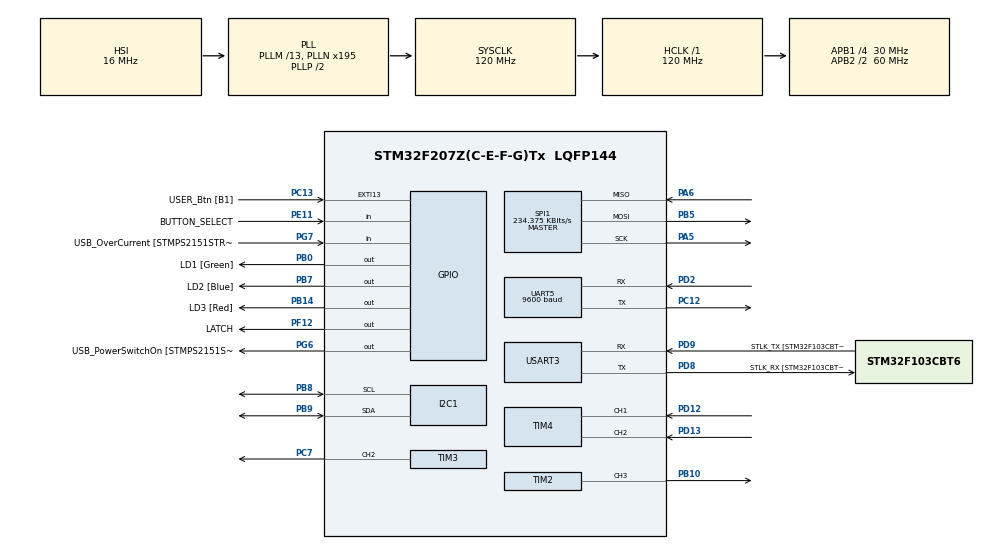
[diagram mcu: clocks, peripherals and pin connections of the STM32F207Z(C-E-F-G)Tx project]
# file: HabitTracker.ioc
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PH0-OSC_IN.Signal=RCC_OSC_IN
SPI1.VirtualType=VM_MASTER
PC12.Signal=UART5_TX
PB14.GPIO_Label=LD3 [Red]
PG6.GPIO_Label=USB_PowerSwitchOn [STMPS2151STR_EN]
PA14.GPIO_Label=TCK
Dma.TIM3_CH2.0.PeriphInc=DMA_PINC_DISABLE
VP_RTC_VS_RTC_Activate.Mode=RTC_Enabled
Dma.TIM3_CH2.0.Instance=DMA1_Stream5
PB13.Signal=ETH_TXD1
PG13.Signal=ETH_TXD0
RCC.SYSCLKSource=RCC_SYSCLKSOURCE_PLLCLK
RTC.SynchPrediv=255
TIM2.Pulse-PWM\ Generation3\ CH3=5
SPI1.Direction=SPI_DIRECTION_2LINES
RCC.APB2TimFreq_Value=120000000
PC7.Signal=S_TIM3_CH2
SPI1.CalculateBaudRate=234.375 KBits/s
PD8.Signal=USART3_TX
PF12.GPIO_Label=LATCH
PC4.GPIO_Label=RMII_RXD0 [LAN8742A-CZ-TR_RXD0]
SH.S_TIM4_CH2.0=TIM4_CH2,Encoder_Interface
PA8.Signal=USB_OTG_FS_SOF
Mcu.Package=LQFP144
PB9.Signal=I2C1_SDA
NVIC.TimeBase=TIM1_UP_TIM10_IRQn
PD12.Signal=S_TIM4_CH1
NVIC.TimeBaseIP=TIM1
PA10.Signal=USB_OTG_FS_ID
VP_RTC_VS_RTC_Calendar.Mode=RTC_Calendar
RCC.APB2CLKDivider=RCC_HCLK_DIV2
SH.S_TIM4_CH1.0=TIM4_CH1,Encoder_Interface
RCC.APB1TimFreq_Value=60000000
UART5.BaudRate=9600
PA5.Mode=Full_Duplex_Master
FREERTOS.Tasks01=defaultTask,24,128,StartDefaultTask,Default,NULL,Static,defaultTaskBuffer,defaultTaskControlBlock
Dma.TIM3_CH2.0.Mode=DMA_NORMAL
PD9.GPIO_Label=STLK_TX [STM32F103CBT6_PA2]
PA9.GPIO_Label=USB_VBUS
PC13.Signal=GPXTI13
PA11.GPIO_Label=USB_DM
UART5.VirtualMode=Asynchronous
RCC.APB1CLKDivider=RCC_HCLK_DIV4
PC14-OSC32_IN.Signal=RCC_OSC32_IN
PG13.GPIO_Label=RMII_TXD0 [LAN8742A-CZ-TR_TXD0]
Dma.TIM3_CH2.0.Direction=DMA_MEMORY_TO_PERIPH
PA8.GPIO_Label=USB_SOF [TP1]
I2C1.I2C_Mode=I2C_Fast
PA9.Signal=USB_OTG_FS_VBUS
PD8.Mode=Asynchronous
PB10.Signal=S_TIM2_CH3
PB14.Signal=GPIO_Output
PA5.Signal=SPI1_SCK
PC12.Mode=Asynchronous
RTC.AlarmMaskDateWeekDay_A-Alarm\ A=RTC_ALARMMASK_DATEWEEKDAY
RCC.PRESCALERUSB=RCC_USBCLKSOURCE_PLL_DIV1_5
SPI1.Mode=SPI_MODE_MASTER
PG7.GPIO_Label=USB_OverCurrent [STMPS2151STR_FAULT]
PA1.GPIO_Label=RMII_REF_CLK [LAN8742A-CZ-TR_REFCLK0]
RCC.RCC_RTC_Clock_SourceVirtual=RCC_RTCCLKSOURCE_LSE
TIM2.Period=10
PA13.Mode=Serial_Wire
NVIC.RTC_Alarm_IRQn=true\:5\:0\:false\:false\:true\:true\:true\:true
Dma.TIM3_CH2.0.FIFOMode=DMA_FIFOMODE_DISABLE
PB5.Signal=SPI1_MOSI
PA11.Signal=USB_OTG_FS_DM
RTC.HourFormat=RTC_HOURFORMAT_12
ProjectManager.HeapSize=0x200
NVIC.TIM1_UP_TIM10_IRQn=true\:0\:0\:false\:false\:true\:false\:false\:true
NVIC.PriorityGroup=NVIC_PRIORITYGROUP_4
TIM3.Channel-PWM\ Generation2\ CH2=TIM_CHANNEL_2
PB8.Mode=I2C
PD2.Signal=UART5_RX
PB0.Signal=GPIO_Output
PC1.Signal=ETH_MDC
Mcu.Family=STM32F2
NVIC.USART3_IRQn=true\:5\:0\:false\:false\:true\:true\:true\:true
PA6.Mode=Full_Duplex_Master
RCC.CortexFreq_Value=120000000
PG6.Signal=GPIO_Output
PE11.GPIO_Label=BUTTON_SELECT
RCC.SYSCLKSourceVirtual=RCC_SYSCLKSOURCE_PLLCLK
PB0.GPIO_Label=LD1 [Green]
PC13.GPIO_Label=USER_Btn [B1]
PB13.GPIO_Label=RMII_TXD1 [LAN8742A-CZ-TR_TXD1]
PD9.Mode=Asynchronous
PG11.Signal=ETH_TX_EN
VP_RTC_VS_RTC_Alarm_A_Intern.Mode=Alarm A
ProjectManager.StackSize=0x400
VP_FREERTOS_VS_CMSIS_V2.Mode=CMSIS_V2
NVIC.UART5_IRQn=true\:5\:0\:false\:false\:true\:true\:true\:true
PD13.Signal=S_TIM4_CH2
PA12.Signal=USB_OTG_FS_DP
RCC.RCC_RTC_Clock_Source=RCC_RTCCLKSOURCE_LSE
RCC.HCLKFreq_Value=120000000
TIM3.Period=75
PF12.Signal=GPIO_Output
RCC.AHBFreq_Value=120000000
PH0-OSC_IN.Mode=HSE-External-Clock-Source
PH0-OSC_IN.GPIO_Label=MCO [STM32F103CBT6_PA8]
RCC.HSE_VALUE=8000000
RCC.PLLMUL=RCC_PLL_MUL9
PC14-OSC32_IN.Mode=LSE-External-Oscillator
PA14.Mode=Serial_Wire
VP_SYS_VS_tim1.Mode=TIM1
PB5.Mode=Full_Duplex_Master
PA10.GPIO_Label=USB_ID
PB7.Signal=GPIO_Output
RTC.Hours_A-Alarm\ A=12
PB7.GPIO_Label=LD2 [Blue]
PH1-OSC_OUT.Mode=HSE-External-Clock-Source
PA6.Signal=SPI1_MISO
PA2.GPIO_Label=RMII_MDIO [LAN8742A-CZ-TR_MDIO]
Dma.TIM3_CH2.0.MemDataAlignment=DMA_MDATAALIGN_HALFWORD
PG11.GPIO_Label=RMII_TX_EN [LAN8742A-CZ-TR_TXEN]
PC5.Signal=ETH_RXD1
Dma.Request0=TIM3_CH2
SPI1.BaudRatePrescaler=SPI_BAUDRATEPRESCALER_256
VP_TIM3_VS_ClockSourceINT.Mode=Internal
PB3.GPIO_Label=SWO
PC15-OSC32_OUT.Mode=LSE-External-Oscillator
PG7.Signal=GPIO_Input
PC4.Signal=ETH_RXD0
PD9.Signal=USART3_RX
PA12.GPIO_Label=USB_DP
PD8.GPIO_Label=STLK_RX [STM32F103CBT6_PA3]
PA13.Signal=SYS_JTMS-SWDIO
RTC.Alarm_A-Alarm\ A=RTC_ALARM_A
ProjectManager.TargetToolchain=STM32CubeIDE
NVIC.DMA1_Stream5_IRQn=true\:5\:0\:false\:false\:true\:true\:false\:true
Dma.TIM3_CH2.0.PeriphDataAlignment=DMA_PDATAALIGN_HALFWORD
PB9.Mode=I2C
RCC.USBFreq_Value=48000000
PE11.Signal=GPIO_Input
PC15-OSC32_OUT.Signal=RCC_OSC32_OUT
PA1.Signal=ETH_REF_CLK
PD2.Mode=Asynchronous
SH.S_TIM3_CH2.0=TIM3_CH2,PWM Generation2 CH2
board=NUCLEO-F207ZG
RCC.VCOOutputFreq_Value=240000000
RCC.APB2Freq_Value=60000000
Dma.TIM3_CH2.0.Priority=DMA_PRIORITY_LOW
Dma.TIM3_CH2.0.MemInc=DMA_MINC_ENABLE
VP_TIM2_VS_ClockSourceINT.Mode=Internal
SH.S_TIM2_CH3.0=TIM2_CH3,PWM Generation3 CH3
PC1.GPIO_Label=RMII_MDC [LAN8742A-CZ-TR_MDC]
TIM2.Channel-PWM\ Generation3\ CH3=TIM_CHANNEL_3
PH1-OSC_OUT.Signal=RCC_OSC_OUT
Mcu.Name=STM32F207Z(C-E-F-G)Tx
PA2.Signal=ETH_MDIO
PA13.GPIO_Label=TMS
RTC.Minutes_A-Alarm\ A=0
RCC.48MHZClocksFreq_Value=48000000
PB3.Signal=SYS_JTDO-SWO
RCC.SYSCLKFreq_VALUE=120000000
PA7.GPIO_Label=RMII_CRS_DV [LAN8742A-CZ-TR_CRS_DV]
PC5.GPIO_Label=RMII_RXD1 [LAN8742A-CZ-TR_RXD1]
USART3.VirtualMode=VM_ASYNC
PA14.Signal=SYS_JTCK-SWCLK
RCC.HSI_VALUE=16000000
RCC.PLLQ=5
RCC.PLLM=13
RCC.PLLN=195
PB8.Signal=I2C1_SCL
RCC.APB1Freq_Value=30000000
PA7.Signal=ETH_CRS_DV

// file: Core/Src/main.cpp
/* USER CODE BEGIN Header */
/**
  ******************************************************************************
  * @file           : main.c
  * @brief          : Main program body
  ******************************************************************************
  * @attention
  *
  * <h2><center>&copy; Copyright (c) 2021 STMicroelectronics.
  * All rights reserved.</center></h2>
  *
  * This software component is licensed by ST under BSD 3-Clause license,
  * the "License"; You may not use this file except in compliance with the
  * License. You may obtain a copy of the License at:
  *                        opensource.org/licenses/BSD-3-Clause
  *
  ******************************************************************************
  */
/* USER CODE END Header */
#include "main.h"
#include "cmsis_os.h"

/* USER CODE BEGIN Includes */
#include "Display.h"
#include "GraphicsEngine.h"
#include "Logger.h"
#include "LoggerTask.h"
#include "RealTimeClock.h"
#include "HabitManager.h"
#include "RotaryEncoder.h"
#include "StatusLED.h"
#include "Button.h"
#include "IOStreamUART.h"
#include "CommandParser.h"
#include "BasicTimer.h"
#include "DisplayController.h"
#include "WS2812Display.h"
#include "LEDTLC5955.h"
/* USER CODE END Includes */

typedef StaticTask_t osStaticThreadDef_t;
/* USER CODE BEGIN PTD */
typedef StaticQueue_t osStaticMessageQDef_t;
typedef StaticTask_t osStaticThreadDef_t;
typedef StaticEventGroup_t osStaticEventGroupDef_t;
/* USER CODE END PTD */

/* USER CODE BEGIN PD */
uint8_t tx_data[] = "AT+UART?\r\n";
uint8_t rx_data[32] = {0};
/* USER CODE END PD */

I2C_HandleTypeDef hi2c1;

RTC_HandleTypeDef hrtc;

SPI_HandleTypeDef hspi1;

TIM_HandleTypeDef htim2;
TIM_HandleTypeDef htim3;
TIM_HandleTypeDef htim4;
DMA_HandleTypeDef hdma_tim3_ch2;

UART_HandleTypeDef huart5;
UART_HandleTypeDef huart3;

/* Definitions for defaultTask */
osThreadId_t defaultTaskHandle;
uint32_t defaultTaskBuffer[ 128 ];
osStaticThreadDef_t defaultTaskControlBlock;
const osThreadAttr_t defaultTask_attributes = {
  .name = "defaultTask",
  .cb_mem = &defaultTaskControlBlock,
  .cb_size = sizeof(defaultTaskControlBlock),
  .stack_mem = &defaultTaskBuffer[0],
  .stack_size = sizeof(defaultTaskBuffer),
  .priority = (osPriority_t) osPriorityNormal,
};
/* USER CODE BEGIN PV */

// Threads
uint64_t loggerTaskBuffer[ 512 ];  // 64 bit to ensure 8 byte alignment
osStaticThreadDef_t loggerTaskControlBlock;
osThreadId_t logger_taskHandle;;
osThreadAttr_t loggerTaskAttributes;

uint64_t guiControllerTaskBuffer[ 4096 ];  // 64 bit to ensure 8 byte alignment
osStaticThreadDef_t guiControllerControlBlock;
osThreadId_t gui_controllerHandle;;
osThreadAttr_t gui_controllerAttributes;

// Logger Queue Configuration
static const uint32_t g_logger_queueSize = 3;
static const uint32_t g_logger_queueItemSize = Logger::BufferItemSize;
osMessageQueueId_t g_logger_queueHandle;
uint8_t g_logger_queueBuffer[g_logger_queueItemSize * g_logger_queueSize];
osStaticMessageQDef_t g_logger_queueControlBlock;
osMessageQueueAttr_t g_logger_queue_attributes;

// Events

// Shared resources
RealTimeClock rtc{&hrtc};

volatile bool resetHabitEvent = false;
/* USER CODE END PV */

void SystemClock_Config(void);
static void MX_GPIO_Init(void);
static void MX_DMA_Init(void);
static void MX_USART3_UART_Init(void);
static void MX_I2C1_Init(void);
static void MX_RTC_Init(void);
static void MX_TIM4_Init(void);
static void MX_TIM3_Init(void);
static void MX_UART5_Init(void);
static void MX_SPI1_Init(void);
static void MX_TIM2_Init(void);
void StartDefaultTask(void *argument);

/* USER CODE BEGIN PFP */
void LoggerTaskThread(void *argument);
void GUIControllerTaskThread(void *argument);
/* USER CODE END PFP */

/* USER CODE BEGIN 0 */
void HAL_RTC_AlarmAEventCallback (RTC_HandleTypeDef * hrtc)
{
	resetHabitEvent = true; // Work Around: Calling osEventFlagsSet() fails when called inside this ISR
}

/* USER CODE END 0 */

int main(void)
{

  /* MCU Configuration--------------------------------------------------------*/

  /* Reset of all peripherals, Initializes the Flash interface and the Systick. */
  HAL_Init();

  /* Configure the system clock */
  SystemClock_Config();

  /* Initialize all configured peripherals */
  MX_GPIO_Init();
  MX_DMA_Init();
  MX_USART3_UART_Init();
  MX_I2C1_Init();
  MX_RTC_Init();
  MX_TIM4_Init();
  MX_TIM3_Init();
  MX_UART5_Init();
  MX_SPI1_Init();
  MX_TIM2_Init();
  /* USER CODE BEGIN 2 */

  //Initialize HAL
  HAL_TIM_Encoder_Start(&htim4, TIM_CHANNEL_ALL);

	LEDTLC5955 tlc{};
	tlc.SetMaxCurrent(7, 7, 7);
	tlc.SetGlobalBrightness(4, 40, 127);
	TLC5955_function_t function;
	function.display_timing_reset_enable = true;
	tlc.SetFunction(function);
	Color_t color{60000, 60000, 60000};
	tlc.SetLed(4, color);
	tlc.UpdateControlSettings();
	tlc.UpdateLED();

  /* USER CODE END 2 */

  /* Init scheduler */
  osKernelInitialize();

  /* USER CODE BEGIN RTOS_QUEUES */
  g_logger_queue_attributes.name = "g_logger_queue";
  g_logger_queue_attributes.cb_mem = &g_logger_queueControlBlock;
  g_logger_queue_attributes.cb_size = sizeof(g_logger_queueControlBlock);
  g_logger_queue_attributes.mq_mem = &g_logger_queueBuffer;
  g_logger_queue_attributes.mq_size = sizeof(g_logger_queueBuffer);
  g_logger_queueHandle = osMessageQueueNew (g_logger_queueSize, g_logger_queueItemSize, &g_logger_queue_attributes);
  if (g_logger_queueHandle == NULL)
  {
	  StatusLED::SetErrorEvent();
  }

  /* USER CODE END RTOS_QUEUES */

  /* Create the thread(s) */
  /* creation of defaultTask */
  defaultTaskHandle = osThreadNew(StartDefaultTask, NULL, &defaultTask_attributes);

  /* USER CODE BEGIN RTOS_THREADS */
  loggerTaskAttributes.name = "LoggerTask";
  loggerTaskAttributes.cb_mem = &loggerTaskControlBlock;
  loggerTaskAttributes.cb_size = sizeof(loggerTaskControlBlock);
  loggerTaskAttributes.stack_mem = &loggerTaskBuffer[0];
  loggerTaskAttributes.stack_size = sizeof(loggerTaskBuffer);
  loggerTaskAttributes.priority = (osPriority_t) osPriorityNormal;
  logger_taskHandle = osThreadNew(LoggerTaskThread, NULL, &loggerTaskAttributes);
  if (g_logger_queueHandle == NULL)
  {
	  StatusLED::SetErrorEvent();
  }

  gui_controllerAttributes.name = "GUIControllerTask";
  gui_controllerAttributes.cb_mem = &guiControllerControlBlock;
  gui_controllerAttributes.cb_size = sizeof(guiControllerControlBlock);
  gui_controllerAttributes.stack_mem = &guiControllerTaskBuffer[0];
  gui_controllerAttributes.stack_size = sizeof(guiControllerTaskBuffer);
  gui_controllerAttributes.priority = (osPriority_t) osPriorityNormal;
  gui_controllerHandle = osThreadNew(GUIControllerTaskThread, NULL, &gui_controllerAttributes);
  if (gui_controllerHandle == NULL)
  {
	  StatusLED::SetErrorEvent();
  }

  /* USER CODE END RTOS_THREADS */

  /* USER CODE BEGIN RTOS_EVENTS */
  // Testing

  /* USER CODE END RTOS_EVENTS */

  /* Start scheduler */
  osKernelStart();

  /* We should never get here as control is now taken by the scheduler */
  /* Infinite loop */
  while (1)
  {

  }
}

void SystemClock_Config(void)
{
  RCC_OscInitTypeDef RCC_OscInitStruct = {0};
  RCC_ClkInitTypeDef RCC_ClkInitStruct = {0};
  RCC_PeriphCLKInitTypeDef PeriphClkInitStruct = {0};

  /** Initializes the RCC Oscillators according to the specified parameters
  * in the RCC_OscInitTypeDef structure.
  */
  RCC_OscInitStruct.OscillatorType = RCC_OSCILLATORTYPE_HSI|RCC_OSCILLATORTYPE_LSE;
  RCC_OscInitStruct.LSEState = RCC_LSE_ON;
  RCC_OscInitStruct.HSIState = RCC_HSI_ON;
  RCC_OscInitStruct.HSICalibrationValue = RCC_HSICALIBRATION_DEFAULT;
  RCC_OscInitStruct.PLL.PLLState = RCC_PLL_ON;
  RCC_OscInitStruct.PLL.PLLSource = RCC_PLLSOURCE_HSI;
  RCC_OscInitStruct.PLL.PLLM = 13;
  RCC_OscInitStruct.PLL.PLLN = 195;
  RCC_OscInitStruct.PLL.PLLP = RCC_PLLP_DIV2;
  RCC_OscInitStruct.PLL.PLLQ = 5;
  if (HAL_RCC_OscConfig(&RCC_OscInitStruct) != HAL_OK)
  {
    Error_Handler();
  }
  /** Initializes the CPU, AHB and APB buses clocks
  */
  RCC_ClkInitStruct.ClockType = RCC_CLOCKTYPE_HCLK|RCC_CLOCKTYPE_SYSCLK
                              |RCC_CLOCKTYPE_PCLK1|RCC_CLOCKTYPE_PCLK2;
  RCC_ClkInitStruct.SYSCLKSource = RCC_SYSCLKSOURCE_PLLCLK;
  RCC_ClkInitStruct.AHBCLKDivider = RCC_SYSCLK_DIV1;
  RCC_ClkInitStruct.APB1CLKDivider = RCC_HCLK_DIV4;
  RCC_ClkInitStruct.APB2CLKDivider = RCC_HCLK_DIV2;

  if (HAL_RCC_ClockConfig(&RCC_ClkInitStruct, FLASH_LATENCY_3) != HAL_OK)
  {
    Error_Handler();
  }
  PeriphClkInitStruct.PeriphClockSelection = RCC_PERIPHCLK_RTC;
  PeriphClkInitStruct.RTCClockSelection = RCC_RTCCLKSOURCE_LSE;
  if (HAL_RCCEx_PeriphCLKConfig(&PeriphClkInitStruct) != HAL_OK)
  {
    Error_Handler();
  }
}

static void MX_I2C1_Init(void)
{

  hi2c1.Instance = I2C1;
  hi2c1.Init.ClockSpeed = 400000;
  hi2c1.Init.DutyCycle = I2C_DUTYCYCLE_2;
  hi2c1.Init.OwnAddress1 = 0;
  hi2c1.Init.AddressingMode = I2C_ADDRESSINGMODE_7BIT;
  hi2c1.Init.DualAddressMode = I2C_DUALADDRESS_DISABLE;
  hi2c1.Init.OwnAddress2 = 0;
  hi2c1.Init.GeneralCallMode = I2C_GENERALCALL_DISABLE;
  hi2c1.Init.NoStretchMode = I2C_NOSTRETCH_DISABLE;
  if (HAL_I2C_Init(&hi2c1) != HAL_OK)
  {
    Error_Handler();
  }

}

static void MX_RTC_Init(void)
{

  RTC_TimeTypeDef sTime = {0};
  RTC_DateTypeDef sDate = {0};
  RTC_AlarmTypeDef sAlarm = {0};

  /** Initialize RTC Only
  */
  hrtc.Instance = RTC;
  hrtc.Init.HourFormat = RTC_HOURFORMAT_12;
  hrtc.Init.AsynchPrediv = 127;
  hrtc.Init.SynchPrediv = 255;
  hrtc.Init.OutPut = RTC_OUTPUT_DISABLE;
  hrtc.Init.OutPutPolarity = RTC_OUTPUT_POLARITY_HIGH;
  hrtc.Init.OutPutType = RTC_OUTPUT_TYPE_OPENDRAIN;
  if (HAL_RTC_Init(&hrtc) != HAL_OK)
  {
    Error_Handler();
  }

  /** Initialize RTC and set the Time and Date
  */
  sTime.Hours = 0x1;
  sTime.Minutes = 0x0;
  sTime.Seconds = 0x0;
  sTime.TimeFormat = RTC_HOURFORMAT12_AM;
  sTime.DayLightSaving = RTC_DAYLIGHTSAVING_NONE;
  sTime.StoreOperation = RTC_STOREOPERATION_RESET;
  if (HAL_RTC_SetTime(&hrtc, &sTime, RTC_FORMAT_BCD) != HAL_OK)
  {
    Error_Handler();
  }
  sDate.WeekDay = RTC_WEEKDAY_MONDAY;
  sDate.Month = RTC_MONTH_JANUARY;
  sDate.Date = 0x1;
  sDate.Year = 0x0;

  if (HAL_RTC_SetDate(&hrtc, &sDate, RTC_FORMAT_BCD) != HAL_OK)
  {
    Error_Handler();
  }
  /** Enable the Alarm A
  */
  sAlarm.AlarmTime.Hours = 0x12;
  sAlarm.AlarmTime.Minutes = 0x0;
  sAlarm.AlarmTime.Seconds = 0x0;
  sAlarm.AlarmTime.TimeFormat = RTC_HOURFORMAT12_AM;
  sAlarm.AlarmTime.DayLightSaving = RTC_DAYLIGHTSAVING_NONE;
  sAlarm.AlarmTime.StoreOperation = RTC_STOREOPERATION_RESET;
  sAlarm.AlarmMask = RTC_ALARMMASK_DATEWEEKDAY;
  sAlarm.AlarmDateWeekDaySel = RTC_ALARMDATEWEEKDAYSEL_DATE;
  sAlarm.AlarmDateWeekDay = 0x1;
  sAlarm.Alarm = RTC_ALARM_A;
  if (HAL_RTC_SetAlarm_IT(&hrtc, &sAlarm, RTC_FORMAT_BCD) != HAL_OK)
  {
    Error_Handler();
  }

}

static void MX_SPI1_Init(void)
{

  /* SPI1 parameter configuration*/
  hspi1.Instance = SPI1;
  hspi1.Init.Mode = SPI_MODE_MASTER;
  hspi1.Init.Direction = SPI_DIRECTION_2LINES;
  hspi1.Init.DataSize = SPI_DATASIZE_8BIT;
  hspi1.Init.CLKPolarity = SPI_POLARITY_LOW;
  hspi1.Init.CLKPhase = SPI_PHASE_1EDGE;
  hspi1.Init.NSS = SPI_NSS_SOFT;
  hspi1.Init.BaudRatePrescaler = SPI_BAUDRATEPRESCALER_256;
  hspi1.Init.FirstBit = SPI_FIRSTBIT_MSB;
  hspi1.Init.TIMode = SPI_TIMODE_DISABLE;
  hspi1.Init.CRCCalculation = SPI_CRCCALCULATION_DISABLE;
  hspi1.Init.CRCPolynomial = 10;
  if (HAL_SPI_Init(&hspi1) != HAL_OK)
  {
    Error_Handler();
  }

}

static void MX_TIM2_Init(void)
{

  TIM_ClockConfigTypeDef sClockSourceConfig = {0};
  TIM_MasterConfigTypeDef sMasterConfig = {0};
  TIM_OC_InitTypeDef sConfigOC = {0};

  htim2.Instance = TIM2;
  htim2.Init.Prescaler = 0;
  htim2.Init.CounterMode = TIM_COUNTERMODE_UP;
  htim2.Init.Period = 10;
  htim2.Init.ClockDivision = TIM_CLOCKDIVISION_DIV1;
  htim2.Init.AutoReloadPreload = TIM_AUTORELOAD_PRELOAD_DISABLE;
  if (HAL_TIM_Base_Init(&htim2) != HAL_OK)
  {
    Error_Handler();
  }
  sClockSourceConfig.ClockSource = TIM_CLOCKSOURCE_INTERNAL;
  if (HAL_TIM_ConfigClockSource(&htim2, &sClockSourceConfig) != HAL_OK)
  {
    Error_Handler();
  }
  if (HAL_TIM_PWM_Init(&htim2) != HAL_OK)
  {
    Error_Handler();
  }
  sMasterConfig.MasterOutputTrigger = TIM_TRGO_RESET;
  sMasterConfig.MasterSlaveMode = TIM_MASTERSLAVEMODE_DISABLE;
  if (HAL_TIMEx_MasterConfigSynchronization(&htim2, &sMasterConfig) != HAL_OK)
  {
    Error_Handler();
  }
  sConfigOC.OCMode = TIM_OCMODE_PWM1;
  sConfigOC.Pulse = 5;
  sConfigOC.OCPolarity = TIM_OCPOLARITY_HIGH;
  sConfigOC.OCFastMode = TIM_OCFAST_DISABLE;
  if (HAL_TIM_PWM_ConfigChannel(&htim2, &sConfigOC, TIM_CHANNEL_3) != HAL_OK)
  {
    Error_Handler();
  }
  HAL_TIM_MspPostInit(&htim2);

}

static void MX_TIM3_Init(void)
{

  TIM_ClockConfigTypeDef sClockSourceConfig = {0};
  TIM_MasterConfigTypeDef sMasterConfig = {0};
  TIM_OC_InitTypeDef sConfigOC = {0};

  htim3.Instance = TIM3;
  htim3.Init.Prescaler = 0;
  htim3.Init.CounterMode = TIM_COUNTERMODE_UP;
  htim3.Init.Period = 75;
  htim3.Init.ClockDivision = TIM_CLOCKDIVISION_DIV1;
  htim3.Init.AutoReloadPreload = TIM_AUTORELOAD_PRELOAD_DISABLE;
  if (HAL_TIM_Base_Init(&htim3) != HAL_OK)
  {
    Error_Handler();
  }
  sClockSourceConfig.ClockSource = TIM_CLOCKSOURCE_INTERNAL;
  if (HAL_TIM_ConfigClockSource(&htim3, &sClockSourceConfig) != HAL_OK)
  {
    Error_Handler();
  }
  if (HAL_TIM_PWM_Init(&htim3) != HAL_OK)
  {
    Error_Handler();
  }
  sMasterConfig.MasterOutputTrigger = TIM_TRGO_RESET;
  sMasterConfig.MasterSlaveMode = TIM_MASTERSLAVEMODE_DISABLE;
  if (HAL_TIMEx_MasterConfigSynchronization(&htim3, &sMasterConfig) != HAL_OK)
  {
    Error_Handler();
  }
  sConfigOC.OCMode = TIM_OCMODE_PWM1;
  sConfigOC.Pulse = 0;
  sConfigOC.OCPolarity = TIM_OCPOLARITY_HIGH;
  sConfigOC.OCFastMode = TIM_OCFAST_DISABLE;
  if (HAL_TIM_PWM_ConfigChannel(&htim3, &sConfigOC, TIM_CHANNEL_2) != HAL_OK)
  {
    Error_Handler();
  }
  HAL_TIM_MspPostInit(&htim3);

}

static void MX_TIM4_Init(void)
{

  TIM_Encoder_InitTypeDef sConfig = {0};
  TIM_MasterConfigTypeDef sMasterConfig = {0};

  htim4.Instance = TIM4;
  htim4.Init.Prescaler = 0;
  htim4.Init.CounterMode = TIM_COUNTERMODE_UP;
  htim4.Init.Period = 65535;
  htim4.Init.ClockDivision = TIM_CLOCKDIVISION_DIV1;
  htim4.Init.AutoReloadPreload = TIM_AUTORELOAD_PRELOAD_DISABLE;
  sConfig.EncoderMode = TIM_ENCODERMODE_TI1;
  sConfig.IC1Polarity = TIM_ICPOLARITY_RISING;
  sConfig.IC1Selection = TIM_ICSELECTION_DIRECTTI;
  sConfig.IC1Prescaler = TIM_ICPSC_DIV1;
  sConfig.IC1Filter = 0;
  sConfig.IC2Polarity = TIM_ICPOLARITY_RISING;
  sConfig.IC2Selection = TIM_ICSELECTION_DIRECTTI;
  sConfig.IC2Prescaler = TIM_ICPSC_DIV1;
  sConfig.IC2Filter = 0;
  if (HAL_TIM_Encoder_Init(&htim4, &sConfig) != HAL_OK)
  {
    Error_Handler();
  }
  sMasterConfig.MasterOutputTrigger = TIM_TRGO_RESET;
  sMasterConfig.MasterSlaveMode = TIM_MASTERSLAVEMODE_DISABLE;
  if (HAL_TIMEx_MasterConfigSynchronization(&htim4, &sMasterConfig) != HAL_OK)
  {
    Error_Handler();
  }

}

static void MX_UART5_Init(void)
{

  huart5.Instance = UART5;
  huart5.Init.BaudRate = 9600;
  huart5.Init.WordLength = UART_WORDLENGTH_8B;
  huart5.Init.StopBits = UART_STOPBITS_1;
  huart5.Init.Parity = UART_PARITY_NONE;
  huart5.Init.Mode = UART_MODE_TX_RX;
  huart5.Init.HwFlowCtl = UART_HWCONTROL_NONE;
  huart5.Init.OverSampling = UART_OVERSAMPLING_16;
  if (HAL_UART_Init(&huart5) != HAL_OK)
  {
    Error_Handler();
  }

}

static void MX_USART3_UART_Init(void)
{

  huart3.Instance = USART3;
  huart3.Init.BaudRate = 115200;
  huart3.Init.WordLength = UART_WORDLENGTH_8B;
  huart3.Init.StopBits = UART_STOPBITS_1;
  huart3.Init.Parity = UART_PARITY_NONE;
  huart3.Init.Mode = UART_MODE_TX_RX;
  huart3.Init.HwFlowCtl = UART_HWCONTROL_NONE;
  huart3.Init.OverSampling = UART_OVERSAMPLING_16;
  if (HAL_UART_Init(&huart3) != HAL_OK)
  {
    Error_Handler();
  }

}

static void MX_DMA_Init(void)
{

  /* DMA controller clock enable */
  __HAL_RCC_DMA1_CLK_ENABLE();

  /* DMA interrupt init */
  /* DMA1_Stream5_IRQn interrupt configuration */
  HAL_NVIC_SetPriority(DMA1_Stream5_IRQn, 5, 0);
  HAL_NVIC_EnableIRQ(DMA1_Stream5_IRQn);

}

static void MX_GPIO_Init(void)
{
  GPIO_InitTypeDef GPIO_InitStruct = {0};

  /* GPIO Ports Clock Enable */
  __HAL_RCC_GPIOC_CLK_ENABLE();
  __HAL_RCC_GPIOH_CLK_ENABLE();
  __HAL_RCC_GPIOA_CLK_ENABLE();
  __HAL_RCC_GPIOB_CLK_ENABLE();
  __HAL_RCC_GPIOF_CLK_ENABLE();
  __HAL_RCC_GPIOE_CLK_ENABLE();
  __HAL_RCC_GPIOD_CLK_ENABLE();
  __HAL_RCC_GPIOG_CLK_ENABLE();

  /*Configure GPIO pin Output Level */
  HAL_GPIO_WritePin(GPIOB, LD1_Pin|LD3_Pin|LD2_Pin, GPIO_PIN_RESET);

  /*Configure GPIO pin Output Level */
  HAL_GPIO_WritePin(LATCH_GPIO_Port, LATCH_Pin, GPIO_PIN_RESET);

  /*Configure GPIO pin Output Level */
  HAL_GPIO_WritePin(USB_PowerSwitchOn_GPIO_Port, USB_PowerSwitchOn_Pin, GPIO_PIN_RESET);

  /*Configure GPIO pin : USER_Btn_Pin */
  GPIO_InitStruct.Pin = USER_Btn_Pin;
  GPIO_InitStruct.Mode = GPIO_MODE_IT_RISING;
  GPIO_InitStruct.Pull = GPIO_NOPULL;
  HAL_GPIO_Init(USER_Btn_GPIO_Port, &GPIO_InitStruct);

  /*Configure GPIO pins : RMII_MDC_Pin RMII_RXD0_Pin RMII_RXD1_Pin */
  GPIO_InitStruct.Pin = RMII_MDC_Pin|RMII_RXD0_Pin|RMII_RXD1_Pin;
  GPIO_InitStruct.Mode = GPIO_MODE_AF_PP;
  GPIO_InitStruct.Pull = GPIO_NOPULL;
  GPIO_InitStruct.Speed = GPIO_SPEED_FREQ_VERY_HIGH;
  GPIO_InitStruct.Alternate = GPIO_AF11_ETH;
  HAL_GPIO_Init(GPIOC, &GPIO_InitStruct);

  /*Configure GPIO pins : RMII_REF_CLK_Pin RMII_MDIO_Pin RMII_CRS_DV_Pin */
  GPIO_InitStruct.Pin = RMII_REF_CLK_Pin|RMII_MDIO_Pin|RMII_CRS_DV_Pin;
  GPIO_InitStruct.Mode = GPIO_MODE_AF_PP;
  GPIO_InitStruct.Pull = GPIO_NOPULL;
  GPIO_InitStruct.Speed = GPIO_SPEED_FREQ_VERY_HIGH;
  GPIO_InitStruct.Alternate = GPIO_AF11_ETH;
  HAL_GPIO_Init(GPIOA, &GPIO_InitStruct);

  /*Configure GPIO pins : LD1_Pin LD3_Pin LD2_Pin */
  GPIO_InitStruct.Pin = LD1_Pin|LD3_Pin|LD2_Pin;
  GPIO_InitStruct.Mode = GPIO_MODE_OUTPUT_PP;
  GPIO_InitStruct.Pull = GPIO_NOPULL;
  GPIO_InitStruct.Speed = GPIO_SPEED_FREQ_LOW;
  HAL_GPIO_Init(GPIOB, &GPIO_InitStruct);

  /*Configure GPIO pin : LATCH_Pin */
  GPIO_InitStruct.Pin = LATCH_Pin;
  GPIO_InitStruct.Mode = GPIO_MODE_OUTPUT_PP;
  GPIO_InitStruct.Pull = GPIO_NOPULL;
  GPIO_InitStruct.Speed = GPIO_SPEED_FREQ_LOW;
  HAL_GPIO_Init(LATCH_GPIO_Port, &GPIO_InitStruct);

  /*Configure GPIO pin : BUTTON_SELECT_Pin */
  GPIO_InitStruct.Pin = BUTTON_SELECT_Pin;
  GPIO_InitStruct.Mode = GPIO_MODE_INPUT;
  GPIO_InitStruct.Pull = GPIO_NOPULL;
  HAL_GPIO_Init(BUTTON_SELECT_GPIO_Port, &GPIO_InitStruct);

  /*Configure GPIO pin : RMII_TXD1_Pin */
  GPIO_InitStruct.Pin = RMII_TXD1_Pin;
  GPIO_InitStruct.Mode = GPIO_MODE_AF_PP;
  GPIO_InitStruct.Pull = GPIO_NOPULL;
  GPIO_InitStruct.Speed = GPIO_SPEED_FREQ_VERY_HIGH;
  GPIO_InitStruct.Alternate = GPIO_AF11_ETH;
  HAL_GPIO_Init(RMII_TXD1_GPIO_Port, &GPIO_InitStruct);

  /*Configure GPIO pin : USB_PowerSwitchOn_Pin */
  GPIO_InitStruct.Pin = USB_PowerSwitchOn_Pin;
  GPIO_InitStruct.Mode = GPIO_MODE_OUTPUT_PP;
  GPIO_InitStruct.Pull = GPIO_NOPULL;
  GPIO_InitStruct.Speed = GPIO_SPEED_FREQ_LOW;
  HAL_GPIO_Init(USB_PowerSwitchOn_GPIO_Port, &GPIO_InitStruct);

  /*Configure GPIO pin : USB_OverCurrent_Pin */
  GPIO_InitStruct.Pin = USB_OverCurrent_Pin;
  GPIO_InitStruct.Mode = GPIO_MODE_INPUT;
  GPIO_InitStruct.Pull = GPIO_NOPULL;
  HAL_GPIO_Init(USB_OverCurrent_GPIO_Port, &GPIO_InitStruct);

  /*Configure GPIO pins : USB_SOF_Pin USB_ID_Pin USB_DM_Pin USB_DP_Pin */
  GPIO_InitStruct.Pin = USB_SOF_Pin|USB_ID_Pin|USB_DM_Pin|USB_DP_Pin;
  GPIO_InitStruct.Mode = GPIO_MODE_AF_PP;
  GPIO_InitStruct.Pull = GPIO_NOPULL;
  GPIO_InitStruct.Speed = GPIO_SPEED_FREQ_VERY_HIGH;
  GPIO_InitStruct.Alternate = GPIO_AF10_OTG_FS;
  HAL_GPIO_Init(GPIOA, &GPIO_InitStruct);

  /*Configure GPIO pin : USB_VBUS_Pin */
  GPIO_InitStruct.Pin = USB_VBUS_Pin;
  GPIO_InitStruct.Mode = GPIO_MODE_INPUT;
  GPIO_InitStruct.Pull = GPIO_NOPULL;
  HAL_GPIO_Init(USB_VBUS_GPIO_Port, &GPIO_InitStruct);

  /*Configure GPIO pins : RMII_TX_EN_Pin RMII_TXD0_Pin */
  GPIO_InitStruct.Pin = RMII_TX_EN_Pin|RMII_TXD0_Pin;
  GPIO_InitStruct.Mode = GPIO_MODE_AF_PP;
  GPIO_InitStruct.Pull = GPIO_NOPULL;
  GPIO_InitStruct.Speed = GPIO_SPEED_FREQ_VERY_HIGH;
  GPIO_InitStruct.Alternate = GPIO_AF11_ETH;
  HAL_GPIO_Init(GPIOG, &GPIO_InitStruct);

}

/* USER CODE BEGIN 4 */
void GUIControllerTaskThread(void *argument)
{
//	WS2812 ledstrip{&htim3};
//	WS2812Display led_display{&ledstrip};
//	GraphicsEngine gEngine{&led_display};
//	HabitManager habit_manager{};
//	RealTimeClock rtc{&hrtc};
//	DisplayController display{&gEngine, &rtc, &habit_manager};
//	IOStreamUART bt_stream{&huart5};
//	CommandParser parser{};

//	// Register Commands
//	parser.RegisterModule(Module_t::RealTimeClock, &rtc);
//	parser.RegisterModule(Module_t::HabitManager, &habit_manager);
//	parser.RegisterModule(Module_t::DisplayController, &display);
//	Command_t cmd;
//	cmd.Module = Module_t::RealTimeClock;
//	cmd.Name = "settime";
//	cmd.Help = "Set the time. Format: dd:dd<AM/PM>";
//	cmd.Code = TIME_CMD_SET_TIME;
//	parser.RegisterCommand(cmd);
//	cmd.Module = Module_t::HabitManager;
//	cmd.Name = "togglehabit";
//	cmd.Help = "Toggles a habit. Format <ID>,<DAY>";
//	cmd.Code = HABIT_MANAGER_CMD_TOGGLE;
//	parser.RegisterCommand(cmd);
//	cmd.Module = Module_t::HabitManager;
//	cmd.Name = "resethabits";
//	cmd.Help = "Resets all habits";
//	cmd.Code = HABIT_MANAGER_CMD_RESET;
//	parser.RegisterCommand(cmd);
//	cmd.Module = Module_t::DisplayController;
//	cmd.Name = "setbrightness";
//	cmd.Help = "Sets brightness of the LEDs";
//	cmd.Code = DISPLAY_CMD_SET_BRIGHTNESS;
//	parser.RegisterCommand(cmd);
//	cmd.Module = Module_t::DisplayController;
//	cmd.Name = "disabledraw";
//	cmd.Help = "Stops display from updating";
//	cmd.Code = DISPLAY_CMD_DISABLE_DRAW;
//	parser.RegisterCommand(cmd);
//	cmd.Module = Module_t::DisplayController;
//	cmd.Name = "enabledraw";
//	cmd.Help = "Start display updating";
//	cmd.Code = DISPLAY_CMD_ENABLE_DRAW;
//	parser.RegisterCommand(cmd);

	for(;;)
	{
//		size_t bytes_available_bt = 0;
//		if ((bytes_available_bt = bt_stream.BytesAvailable()))
//		{
//			uint8_t last_char = 0;
//			uint8_t end_of_line = '\n';
//
//			if ((bt_stream.Peak(bytes_available_bt - 1, last_char) && last_char == end_of_line) || bt_stream.IsRxBufferFull())
//			{
//				if (false == parser.Execute(&bt_stream))
//				{
//					uint8_t msg_invalid_cmd[] = "ERROR: INVALID COMMAND\r\n";
//					bt_stream.Write(msg_invalid_cmd, sizeof(msg_invalid_cmd) / sizeof(msg_invalid_cmd[0]));
//				}else
//				{
//					uint8_t msg_valid_cmd[] = "OK\r\n";
//					bt_stream.Write(msg_valid_cmd, sizeof(msg_valid_cmd) / sizeof(msg_valid_cmd[0]));
//				}
//			}
//        }
//
//		display.Draw();

		osDelay(200);
	}
}

void LoggerTaskThread(void *argument)
{
	LoggerTask logger_task{};
	logger_task.Run();
}

/* USER CODE END 4 */

void StartDefaultTask(void *argument)
{
  for(;;)
  {
    osDelay(1);
  }
}

 /**
  * @brief  Period elapsed callback in non blocking mode
  * @note   This function is called  when TIM1 interrupt took place, inside
  * HAL_TIM_IRQHandler(). It makes a direct call to HAL_IncTick() to increment
  * a global variable "uwTick" used as application time base.
  * @param  htim : TIM handle
  * @retval None
  */
void HAL_TIM_PeriodElapsedCallback(TIM_HandleTypeDef *htim)
{
  if (htim->Instance == TIM1) {
    HAL_IncTick();
  }
}

void Error_Handler(void)
{
}

/************************ (C) COPYRIGHT STMicroelectronics *****END OF FILE****/
